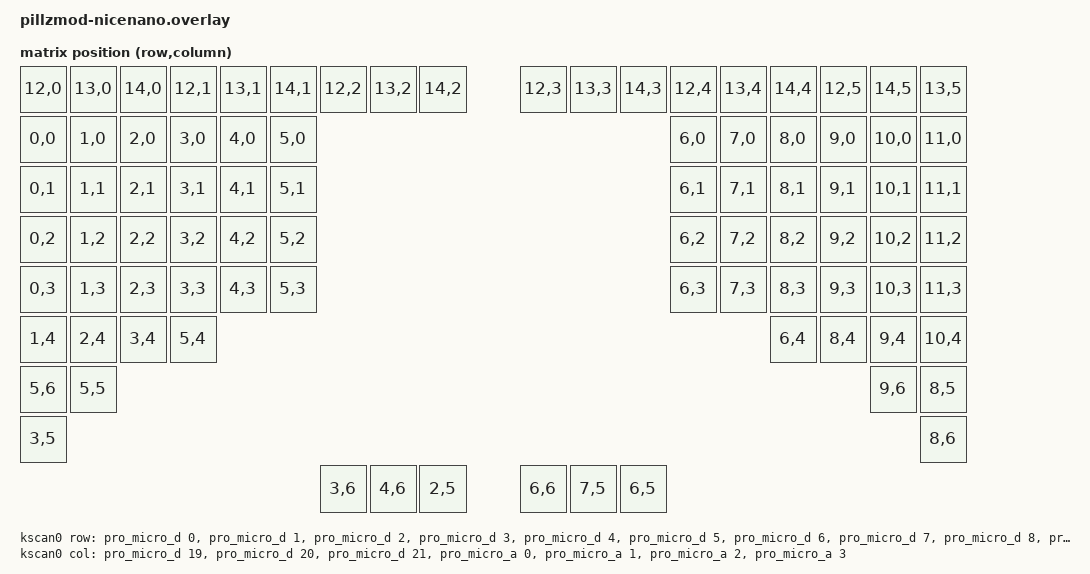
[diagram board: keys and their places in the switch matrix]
/*
 * Copyright (c) 2020 The ZMK Contributors
 * SPDX-License-Identifier: MIT
 * 
 * Pillz Mod shield for Nice!Nano (Pro Micro compatible)
 * Based on dcpedit/pillzmod hardware design
 * Adapted from keepitsimplejim/zmk-config-pillzmod-kinesis-adv
 */

#include <dt-bindings/led/led.h>
#include <dt-bindings/zmk/matrix_transform.h>

/ {
    chosen {
        zmk,kscan = &kscan0;
        zmk,matrix_transform = &default_transform;
        zmk,backlight = &backlight;
    };

    // Status LEDs (4 total for Pillz Mod) - using unused digital pins
    backlight: gpioleds {
        compatible = "gpio-leds";
        gpio_led_0 {
            gpios = <&pro_micro_d 11 GPIO_ACTIVE_LOW>;  // D11 pin (unused)
        };
        gpio_led_1 {
            gpios = <&pro_micro_d 12 GPIO_ACTIVE_LOW>; // D12 pin (unused)  
        };
        gpio_led_2 {
            gpios = <&pro_micro_d 13 GPIO_ACTIVE_LOW>; // D13 pin (unused)
        };
        gpio_led_3 {
            gpios = <&pro_micro_d 17 GPIO_ACTIVE_LOW>; // D17 pin (unused)
        };
    };

    // Kinesis Advantage matrix transform (15 rows × 7 columns)
    default_transform: keymap_transform_0 {
        compatible = "zmk,matrix-transform";
        columns = <7>;
        rows = <15>;
        map = <
RC(12, 0) RC(13, 0) RC(14, 0) RC(12, 1) RC(13, 1) RC(14, 1) RC(12, 2) RC(13, 2) RC(14, 2)   RC(12, 3) RC(13, 3) RC(14, 3) RC(12, 4) RC(13, 4) RC(14, 4) RC(12, 5) RC(14, 5) RC(13, 5)  
RC( 0, 0) RC( 1, 0) RC( 2, 0) RC( 3, 0) RC( 4, 0) RC( 5, 0)                                 RC( 6, 0) RC( 7, 0) RC( 8, 0) RC( 9, 0) RC(10, 0) RC(11, 0)  
RC( 0, 1) RC( 1, 1) RC( 2, 1) RC( 3, 1) RC( 4, 1) RC( 5, 1)                                 RC( 6, 1) RC( 7, 1) RC( 8, 1) RC( 9, 1) RC(10, 1) RC(11, 1)  
RC( 0, 2) RC( 1, 2) RC( 2, 2) RC( 3, 2) RC( 4, 2) RC( 5, 2)                                 RC( 6, 2) RC( 7, 2) RC( 8, 2) RC( 9, 2) RC(10, 2) RC(11, 2)  
RC( 0, 3) RC( 1, 3) RC( 2, 3) RC( 3, 3) RC( 4, 3) RC( 5, 3)                                 RC( 6, 3) RC( 7, 3) RC( 8, 3) RC( 9, 3) RC(10, 3) RC(11, 3)  
          RC( 1, 4) RC( 2, 4) RC( 3, 4) RC( 5, 4)                                                     RC( 6, 4) RC( 8, 4) RC( 9, 4) RC(10, 4)       
                                                  RC( 5, 6) RC( 5, 5)             RC( 9, 6) RC( 8, 5)                           
                                                            RC( 3, 5)             RC( 8, 6)                                
                                        RC( 3, 6) RC( 4, 6) RC( 2, 5)             RC( 6, 6) RC( 7, 5) RC( 6, 5)                       
        >;
    };

    // Matrix scanning configuration for Nice!Nano
    kscan0: kscan_0 {
        compatible = "zmk,kscan-gpio-matrix";
        label = "KSCAN";
        diode-direction = "col2row";

        // Rows (15 total) - using Pro Micro digital pins
        row-gpios
            = <&pro_micro_d 0 (GPIO_ACTIVE_HIGH | GPIO_PULL_DOWN)>   // D0
            , <&pro_micro_d 1 (GPIO_ACTIVE_HIGH | GPIO_PULL_DOWN)>   // D1  
            , <&pro_micro_d 2 (GPIO_ACTIVE_HIGH | GPIO_PULL_DOWN)>   // D2
            , <&pro_micro_d 3 (GPIO_ACTIVE_HIGH | GPIO_PULL_DOWN)>   // D3
            , <&pro_micro_d 4 (GPIO_ACTIVE_HIGH | GPIO_PULL_DOWN)>   // D4
            , <&pro_micro_d 5 (GPIO_ACTIVE_HIGH | GPIO_PULL_DOWN)>   // D5
            , <&pro_micro_d 6 (GPIO_ACTIVE_HIGH | GPIO_PULL_DOWN)>   // D6
            , <&pro_micro_d 7 (GPIO_ACTIVE_HIGH | GPIO_PULL_DOWN)>   // D7
            , <&pro_micro_d 8 (GPIO_ACTIVE_HIGH | GPIO_PULL_DOWN)>   // D8
            , <&pro_micro_d 9 (GPIO_ACTIVE_HIGH | GPIO_PULL_DOWN)>   // D9
            , <&pro_micro_d 10 (GPIO_ACTIVE_HIGH | GPIO_PULL_DOWN)>  // D10
            , <&pro_micro_d 14 (GPIO_ACTIVE_HIGH | GPIO_PULL_DOWN)>  // D14 
            , <&pro_micro_d 15 (GPIO_ACTIVE_HIGH | GPIO_PULL_DOWN)>  // D15
            , <&pro_micro_d 16 (GPIO_ACTIVE_HIGH | GPIO_PULL_DOWN)>  // D16
            , <&pro_micro_d 18 (GPIO_ACTIVE_HIGH | GPIO_PULL_DOWN)>  // D18
            ;

        // Columns (7 total) - using Pro Micro digital and analog pins  
        col-gpios
            = <&pro_micro_d 19 GPIO_ACTIVE_HIGH>    // D19
            , <&pro_micro_d 20 GPIO_ACTIVE_HIGH>    // D20
            , <&pro_micro_d 21 GPIO_ACTIVE_HIGH>    // D21  
            , <&pro_micro_a 0 GPIO_ACTIVE_HIGH>     // A0
            , <&pro_micro_a 1 GPIO_ACTIVE_HIGH>     // A1
            , <&pro_micro_a 2 GPIO_ACTIVE_HIGH>     // A2
            , <&pro_micro_a 3 GPIO_ACTIVE_HIGH>     // A3
            ;
    };
};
